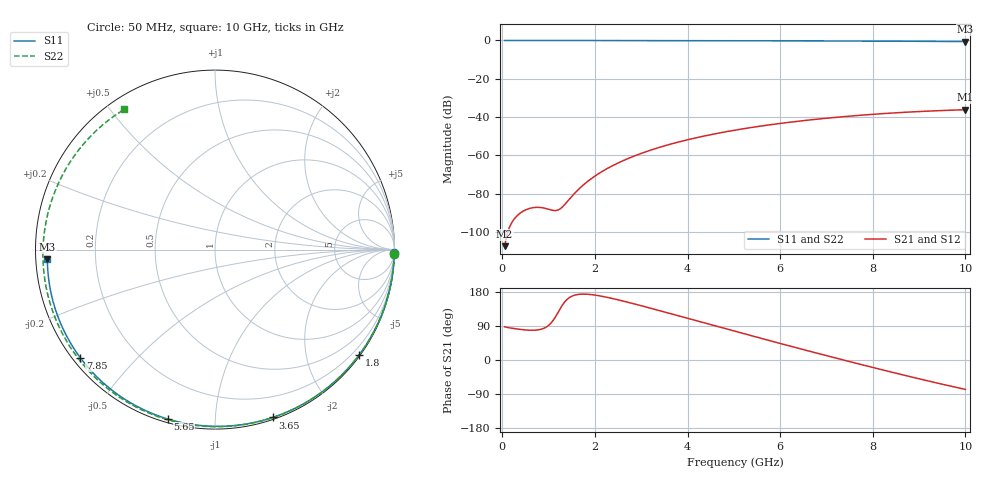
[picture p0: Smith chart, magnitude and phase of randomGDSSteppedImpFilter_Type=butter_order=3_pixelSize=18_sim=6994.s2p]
! freq	dB(S11)	phase(S11)	dB(S12)	phase(S12)
!  dB(S21)	phase(S21)	dB(S22)	phase(S22)
!S-par simulation data
#  GHz  S  DB  R 50
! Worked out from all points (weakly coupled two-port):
!   200 points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, 50 MHz to 10 GHz, reference 50 ohm
!   highest |S21| = -36.19 dB at 10 GHz (marker M1); lowest = -107.5 dB at 50 MHz (marker M2)
!   lowest |S11| = -0.6 dB at 10 GHz (marker M3), VSWR 30.03, Z = 1.67 - j1.47 ohm
!   |S11| at or under -10 dB: nowhere
!   |S22| runs from -0.6 to 0.0 dB; largest |S21 - S12| = 0
!   S11 on the Smith chart (normalised r, x): 50 MHz: open; 1.8 GHz: 0.03, -3.06; 3.65 GHz: 0.02, -1.40; 5.65 GHz: 0.02, -0.76; 7.85 GHz: 0.02, -0.35; 10 GHz: 0.03, -0.03
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0.05  -0.00 -1.0  -107.51 87.7  -107.51 87.7  -0.01 -1.3
0.75  -0.02 -15.2  -87.22 79.2  -87.22 79.2  -0.03 -20.6
1.15  -0.03 -23.3  -88.90 114.2  -88.90 114.2  -0.04 -31.5
1.55  -0.04 -31.2  -80.18 170.6  -80.18 170.6  -0.05 -42.1
1.75  -0.04 -35.2  -75.51 173.9  -75.51 173.9  -0.06 -47.3
1.8  -0.05 -36.1  -74.49 173.8  -74.49 173.8  -0.06 -48.6
2.1  -0.05 -42.0  -69.30 169.3  -69.30 169.3  -0.07 -56.4
2.45  -0.06 -48.7  -64.62 160.3  -64.62 160.3  -0.08 -65.2
2.9  -0.07 -57.2  -59.92 146.5  -59.92 146.5  -0.10 -76.3
3.4  -0.09 -66.5  -55.81 130.1  -55.81 130.1  -0.11 -88.2
3.65  -0.10 -71.0  -54.07 121.7  -54.07 121.7  -0.12 -94.0
4.35  -0.12 -83.5  -49.99 98.2  -49.99 98.2  -0.15 -109.9
5.05  -0.15 -95.5  -46.77 74.8  -46.77 74.8  -0.18 -125.2
5.65  -0.18 -105.6  -44.51 55.1  -44.51 55.1  -0.22 -138.0
6.2  -0.21 -114.7  -42.76 37.1  -42.76 37.1  -0.26 -149.7
6.7  -0.24 -122.8  -41.38 21.1  -41.38 21.1  -0.29 -160.2
7.3  -0.28 -132.4  -39.97 2.1  -39.97 2.1  -0.34 -173.1
7.85  -0.33 -141.2  -38.87 -15.1  -38.87 -15.1  -0.39 174.9
8.35  -0.38 -149.3  -38.03 -30.3  -38.03 -30.3  -0.44 163.7
9.15  -0.47 -162.3  -36.97 -54.0  -36.97 -54.0  -0.53 144.7
9.55  -0.52 -169.0  -36.56 -65.3  -36.56 -65.3  -0.57 134.6
10  -0.58 -176.6  -36.19 -77.6  -36.19 -77.6  -0.63 122.8
